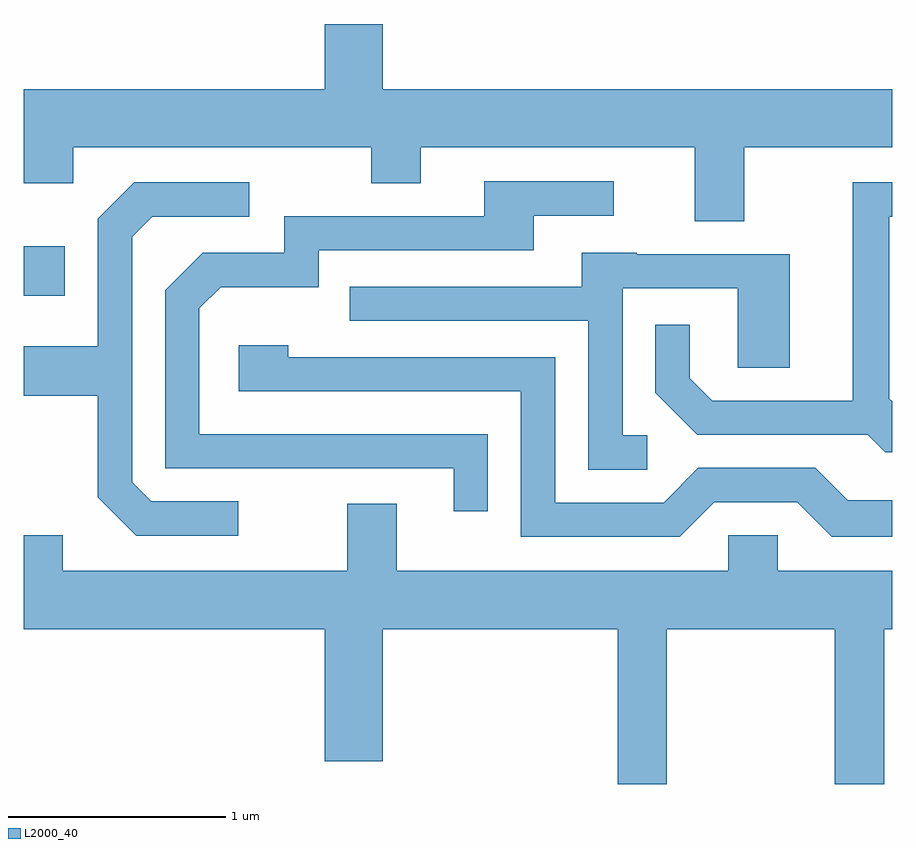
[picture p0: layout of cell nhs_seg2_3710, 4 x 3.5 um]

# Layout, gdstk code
import gdstk
lib = gdstk.Library(unit=1e-6, precision=1e-09)
def R(c, l, rs):  # rectangles x0, y0, x1, y1
    for r in rs: c.add(gdstk.rectangle(r[:2], r[2:], *l))
def P(c, l, *ps):  # polygons
    for p in ps: c.add(gdstk.Polygon(p, *l))
L2000_40 = (2000, 40)

nhs_seg2_3710 = lib.new_cell('nhs_seg2_3710')
R(nhs_seg2_3710, L2000_40, [(293.611,1072.051,293.799,1072.279)])
P(nhs_seg2_3710, L2000_40, [(296.929,1072.736),(297.611,1072.736),(297.611,1073.004),(295.264,1073.004),(295.264,1073.304),(294.996,1073.304),(294.996,1073.004),(293.611,1073.004),(293.611,1072.571),(293.839,1072.571),(293.839,1072.736),(295.211,1072.736),(295.211,1072.571),(295.439,1072.571),(295.439,1072.736),(296.701,1072.736),(296.701,1072.396),(296.929,1072.396)],
  [(295.749,1071.414),(294.419,1071.414),(294.419,1071.994),(294.517,1072.091),(294.969,1072.091),(294.969,1072.261),(295.959,1072.261),(295.959,1072.421),(296.328,1072.421),(296.328,1072.579),(295.731,1072.579),(295.731,1072.419),(294.811,1072.419),(294.811,1072.249),(294.434,1072.249),(294.261,1072.077),(294.261,1071.256),(295.591,1071.256),(295.591,1071.058),(295.749,1071.058)],
  [(297.611,1071.565),(297.599,1071.577),(297.599,1072.416),(297.611,1072.416),(297.611,1072.574),(297.431,1072.574),(297.431,1071.569),(296.782,1071.569),(296.679,1071.672),(296.679,1071.918),(296.521,1071.918),(296.521,1071.604),(296.714,1071.411),(297.499,1071.411),(297.579,1071.331),(297.611,1071.331)],
  [(294.598,1071.104),(294.197,1071.104),(294.109,1071.192),(294.109,1072.324),(294.202,1072.416),(294.648,1072.416),(294.648,1072.574),(294.119,1072.574),(293.951,1072.407),(293.951,1071.819),(293.611,1071.819),(293.611,1071.591),(293.951,1071.591),(293.951,1071.124),(294.129,1070.946),(294.598,1070.946)],
  [(296.483,1071.409),(296.369,1071.409),(296.369,1072.086),(296.901,1072.086),(296.901,1071.721),(297.139,1071.721),(297.139,1072.244),(296.435,1072.244),(296.435,1072.249),(296.181,1072.249),(296.181,1072.094),(295.113,1072.094),(295.113,1071.936),(296.211,1071.936),(296.211,1071.251),(296.483,1071.251)],
  [(296.792,1071.101),(297.174,1071.101),(297.334,1070.941),(297.611,1070.941),(297.611,1071.109),(297.407,1071.109),(297.257,1071.259),(296.719,1071.259),(296.559,1071.099),(296.059,1071.099),(296.059,1071.769),(294.829,1071.769),(294.829,1071.824),(294.601,1071.824),(294.601,1071.611),(295.901,1071.611),(295.901,1070.941),(296.632,1070.941)],
  [(295.101,1070.784),(293.789,1070.784),(293.789,1070.949),(293.611,1070.949),(293.611,1070.516),(294.996,1070.516),(294.996,1069.906),(295.264,1069.906),(295.264,1070.516),(296.346,1070.516),(296.346,1069.802),(296.574,1069.802),(296.574,1070.516),(297.346,1070.516),(297.346,1069.802),(297.574,1069.802),(297.574,1070.516),(297.611,1070.516),(297.611,1070.784),(297.084,1070.784),(297.084,1070.949),(296.856,1070.949),(296.856,1070.784),(295.329,1070.784),(295.329,1071.094),(295.101,1071.094)])

lib.write_gds('nhs_seg2_3710.gds')
